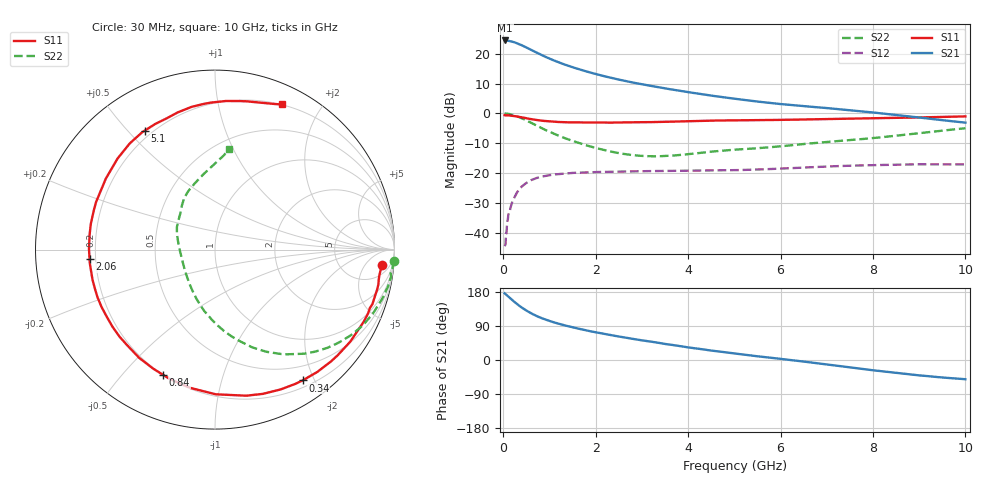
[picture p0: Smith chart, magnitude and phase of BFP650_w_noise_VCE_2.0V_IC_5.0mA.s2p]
! Infineon Technologies  Discrete & RF Semiconductors
! BFP650
! VCE =  2.0 V,  IC =  5.0 mA
! Common Emitter S-Parameters:  Jan 2016
# GHz  S  MA  R  50
!  f  S11  S21  S12  S22
! GHz  MAG  ANG  MAG  ANG  MAG  ANG  MAG  ANG
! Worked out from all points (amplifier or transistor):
!   229 points, 30 MHz to 10 GHz, reference 50 ohm
!   highest |S21| = 24.4 dB at 40 MHz (marker M1)
!   |S21| within 3 dB of that: start of sweep to 584 MHz
!   unconditionally stable (mu >= 1): 4.162 GHz to end of sweep
!   at 280 MHz: K = 0.06, MSG = 25.3 dB, |S12| = -27.0 dB
!   at 1.78 GHz: K = 0.50, MSG = 17.0 dB, |S12| = -19.8 dB
!   at 10 GHz: K = 1.09, MAG = 5.1 dB, |S12| = -17.1 dB
!   lowest NFmin = 0.58 dB at 450 MHz
!   S11 on the Smith chart (normalised r, x): 30 MHz: 11, -14; 340 MHz: 0.29, -1.84; 840 MHz: 0.20, -0.65; 2.06 GHz: 0.18, -0.04; 5.1 GHz: 0.17, +0.56; 10 GHz: 0.20, +1.55
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0.03  0.935 -5.1  16.51 176.1  0.006 72.1  0.9989 -3.5
0.04  0.9297 -7.0  16.64 174.9  0.0062 84.8  0.9968 -4.6
0.11  0.9281 -19.1  16.49 167.4  0.02 83.7  0.9843 -12.5
0.2  0.9118 -34.2  15.85 157.7  0.034 72.1  0.9495 -22.0
0.26  0.8978 -43.9  15.33 151.5  0.0416 67.2  0.9185 -28.3
0.34  0.8772 -56.2  14.48 143.9  0.0524 61.1  0.8694 -35.9
0.4  0.8608 -64.8  13.83 138.4  0.0596 56.7  0.8313 -41.2
0.5  0.8325 -77.9  12.7 130.4  0.0686 49.9  0.7639 -49.4
0.6  0.8062 -89.7  11.62 123.3  0.0763 44.6  0.6977 -56.8
0.7  0.7827 -100.1  10.64 117.2  0.0819 39.7  0.638 -63.2
0.84  0.7554 -112.5  9.424 110.1  0.0878 33.9  0.5637 -71.0
1  0.7366 -124.9  8.28 103.0  0.0926 28.9  0.4939 -79.0
1.2  0.7199 -137.7  7.162 95.6  0.0968 24.0  0.4236 -87.9
1.44  0.7083 -150.4  6.148 88.0  0.1001 19.2  0.3598 -97.5
1.7  0.7035 -162.1  5.308 80.8  0.1025 15.3  0.3077 -107.1
2.06  0.7007 -175.6  4.449 71.8  0.1046 11.2  0.2575 -119.9
2.64  0.7067 167.2  3.491 59.1  0.1067 6.3  0.2082 -141.8
3.4  0.721 149.1  2.707 44.5  0.1087 1.5  0.1924 -170.9
5.1  0.7699 120.5  1.723 15.8  0.1126 -5.2  0.2497 147.4
6.8  0.7994 101.6  1.266 -8.6  0.1271 -11.1  0.3227 123.2
8.4  0.8393 80.4  0.961 -32.7  0.1381 -21.3  0.4157 100.4
10  0.8916 65.1  0.701 -50.7  0.1402 -30.3  0.5647 82.2
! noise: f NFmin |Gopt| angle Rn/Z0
0.45  0.58  0.3  34  0.16
0.9  0.6  0.29  65  0.15
1.9  0.87  0.34  137  0.07
2.4  1.01  0.35  156  0.07
3.5  1.44  0.3  -144  0.31
